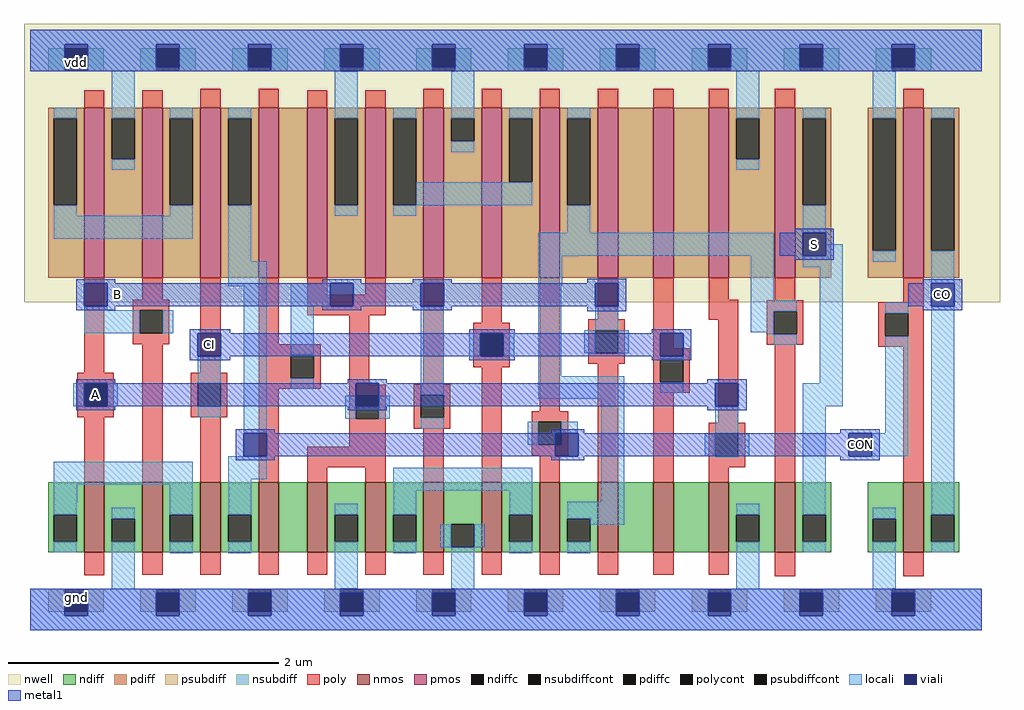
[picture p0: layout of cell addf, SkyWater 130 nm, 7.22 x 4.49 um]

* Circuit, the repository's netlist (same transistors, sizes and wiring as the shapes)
* NGSPICE file created from addf.ext - technology: sky130A

.subckt addf A S CO
X0 a_952_521# CI a_870_521# vdd sky130_fd_pr__pfet_01v8 ad=0.164 pd=1.52 as=0.164 ps=1.52 w=1.26 l=0.15
X1 S a_784_115# vdd vdd sky130_fd_pr__pfet_01v8 ad=0.334 pd=3.05 as=0.214 ps=1.6 w=1.26 l=0.15
X2 a_526_115# CI gnd gnd sky130_fd_pr__nfet_01v8 ad=0.0728 pd=0.8 as=0.0728 ps=0.8 w=0.52 l=0.15
X3 a_27_521# B vdd vdd sky130_fd_pr__pfet_01v8 ad=0.176 pd=1.54 as=0.176 ps=1.54 w=1.26 l=0.15
X4 a_952_115# CI a_870_115# gnd sky130_fd_pr__nfet_01v8 ad=0.0676 pd=0.78 as=0.0676 ps=0.78 w=0.52 l=0.15
X5 S a_784_115# gnd gnd sky130_fd_pr__nfet_01v8 ad=0.138 pd=1.57 as=0.0884 ps=0.86 w=0.52 l=0.15
X6 vdd A a_27_521# vdd sky130_fd_pr__pfet_01v8 ad=0.176 pd=1.54 as=0.334 ps=3.05 w=1.26 l=0.15
X7 a_784_115# CON a_526_521# vdd sky130_fd_pr__pfet_01v8 ad=0.176 pd=1.54 as=0.176 ps=1.54 w=1.26 l=0.15
X8 a_27_115# B gnd gnd sky130_fd_pr__nfet_01v8 ad=0.0728 pd=0.8 as=0.0728 ps=0.8 w=0.52 l=0.15
X9 gnd A a_27_115# gnd sky130_fd_pr__nfet_01v8 ad=0.0728 pd=0.8 as=0.138 ps=1.57 w=0.52 l=0.15
X10 a_784_115# CON a_526_115# gnd sky130_fd_pr__nfet_01v8 ad=0.0728 pd=0.8 as=0.0728 ps=0.8 w=0.52 l=0.15
X11 CON CI a_27_521# vdd sky130_fd_pr__pfet_01v8 ad=0.176 pd=1.54 as=0.176 ps=1.54 w=1.26 l=0.15
X12 vdd A a_368_521# vdd sky130_fd_pr__pfet_01v8 ad=0.176 pd=1.54 as=0.132 ps=1.47 w=1.26 l=0.15
X13 a_526_521# A vdd vdd sky130_fd_pr__pfet_01v8 ad=0.176 pd=1.54 as=0.176 ps=1.54 w=1.26 l=0.15
X14 CO CON vdd vdd sky130_fd_pr__pfet_01v8 ad=0.334 pd=3.05 as=0.334 ps=3.05 w=1.26 l=0.15
X15 CON CI a_27_115# gnd sky130_fd_pr__nfet_01v8 ad=0.0728 pd=0.8 as=0.0728 ps=0.8 w=0.52 l=0.15
X16 a_870_521# B a_784_115# vdd sky130_fd_pr__pfet_01v8 ad=0.164 pd=1.52 as=0.176 ps=1.54 w=1.26 l=0.15
X17 gnd A a_368_115# gnd sky130_fd_pr__nfet_01v8 ad=0.0728 pd=0.8 as=0.0546 ps=0.73 w=0.52 l=0.15
X18 a_526_115# A gnd gnd sky130_fd_pr__nfet_01v8 ad=0.0728 pd=0.8 as=0.0728 ps=0.8 w=0.52 l=0.15
X19 CO CON gnd gnd sky130_fd_pr__nfet_01v8 ad=0.138 pd=1.57 as=0.138 ps=1.57 w=0.52 l=0.15
X20 a_870_115# B a_784_115# gnd sky130_fd_pr__nfet_01v8 ad=0.0676 pd=0.78 as=0.0728 ps=0.8 w=0.52 l=0.15
X21 a_368_521# B CON vdd sky130_fd_pr__pfet_01v8 ad=0.132 pd=1.47 as=0.176 ps=1.54 w=1.26 l=0.15
X22 vdd B a_526_521# vdd sky130_fd_pr__pfet_01v8 ad=0.176 pd=1.54 as=0.176 ps=1.54 w=1.26 l=0.15
X23 vdd A a_952_521# vdd sky130_fd_pr__pfet_01v8 ad=0.214 pd=1.6 as=0.164 ps=1.52 w=1.26 l=0.15
X24 a_368_115# B CON gnd sky130_fd_pr__nfet_01v8 ad=0.0546 pd=0.73 as=0.0728 ps=0.8 w=0.52 l=0.15
X25 gnd B a_526_115# gnd sky130_fd_pr__nfet_01v8 ad=0.0728 pd=0.8 as=0.0728 ps=0.8 w=0.52 l=0.15
X26 gnd A a_952_115# gnd sky130_fd_pr__nfet_01v8 ad=0.0884 pd=0.86 as=0.0676 ps=0.78 w=0.52 l=0.15
X27 a_526_521# CI vdd vdd sky130_fd_pr__pfet_01v8 ad=0.176 pd=1.54 as=0.176 ps=1.54 w=1.26 l=0.15
.ends

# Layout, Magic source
magic
tech sky130A
magscale 1 2
<< nwell >>
rect -9 485 1435 897
<< nmos >>
rect 80 115 110 219
rect 166 115 196 219
rect 252 115 282 219
rect 338 115 368 219
rect 410 115 440 219
rect 496 115 526 219
rect 582 115 612 219
rect 668 115 698 219
rect 754 115 784 219
rect 840 115 870 219
rect 922 115 952 219
rect 1004 115 1034 219
rect 1102 115 1132 219
rect 1292 115 1322 219
<< pmos >>
rect 80 521 110 773
rect 166 521 196 773
rect 252 521 282 773
rect 338 521 368 773
rect 410 521 440 773
rect 496 521 526 773
rect 582 521 612 773
rect 668 521 698 773
rect 754 521 784 773
rect 840 521 870 773
rect 922 521 952 773
rect 1004 521 1034 773
rect 1102 521 1132 773
rect 1292 521 1322 773
<< ndiff >>
rect 27 171 80 219
rect 27 131 35 171
rect 69 131 80 171
rect 27 115 80 131
rect 110 165 166 219
rect 110 131 121 165
rect 155 131 166 165
rect 110 115 166 131
rect 196 171 252 219
rect 196 131 207 171
rect 241 131 252 171
rect 196 115 252 131
rect 282 171 338 219
rect 282 131 293 171
rect 327 131 338 171
rect 282 115 338 131
rect 368 115 410 219
rect 440 171 496 219
rect 440 131 451 171
rect 485 131 496 171
rect 440 115 496 131
rect 526 171 582 219
rect 526 131 537 171
rect 571 131 582 171
rect 526 115 582 131
rect 612 157 668 219
rect 612 123 623 157
rect 657 123 668 157
rect 612 115 668 123
rect 698 171 754 219
rect 698 131 709 171
rect 743 131 754 171
rect 698 115 754 131
rect 784 165 840 219
rect 784 131 795 165
rect 829 131 840 165
rect 784 115 840 131
rect 870 115 922 219
rect 952 115 1004 219
rect 1034 171 1102 219
rect 1034 131 1045 171
rect 1079 131 1102 171
rect 1034 115 1102 131
rect 1132 171 1185 219
rect 1132 131 1143 171
rect 1177 131 1185 171
rect 1132 115 1185 131
rect 1239 165 1292 219
rect 1239 131 1247 165
rect 1281 131 1292 165
rect 1239 115 1292 131
rect 1322 171 1375 219
rect 1322 131 1333 171
rect 1367 131 1375 171
rect 1322 115 1375 131
<< pdiff >>
rect 27 757 80 773
rect 27 629 35 757
rect 69 629 80 757
rect 27 521 80 629
rect 110 757 166 773
rect 110 697 121 757
rect 155 697 166 757
rect 110 521 166 697
rect 196 757 252 773
rect 196 629 207 757
rect 241 629 252 757
rect 196 521 252 629
rect 282 757 338 773
rect 282 629 293 757
rect 327 629 338 757
rect 282 521 338 629
rect 368 521 410 773
rect 440 757 496 773
rect 440 629 451 757
rect 485 629 496 757
rect 440 521 496 629
rect 526 757 582 773
rect 526 629 537 757
rect 571 629 582 757
rect 526 521 582 629
rect 612 757 668 773
rect 612 723 623 757
rect 657 723 668 757
rect 612 521 668 723
rect 698 757 754 773
rect 698 663 709 757
rect 743 663 754 757
rect 698 521 754 663
rect 784 757 840 773
rect 784 629 795 757
rect 829 629 840 757
rect 784 521 840 629
rect 870 521 922 773
rect 952 521 1004 773
rect 1034 757 1102 773
rect 1034 697 1045 757
rect 1079 697 1102 757
rect 1034 521 1102 697
rect 1132 757 1185 773
rect 1132 629 1143 757
rect 1177 629 1185 757
rect 1132 521 1185 629
rect 1239 757 1292 773
rect 1239 561 1247 757
rect 1281 561 1292 757
rect 1239 521 1292 561
rect 1322 757 1375 773
rect 1322 561 1333 757
rect 1367 561 1375 757
rect 1322 521 1375 561
<< ndiffc >>
rect 35 131 69 171
rect 121 131 155 165
rect 207 131 241 171
rect 293 131 327 171
rect 451 131 485 171
rect 537 131 571 171
rect 623 123 657 157
rect 709 131 743 171
rect 795 131 829 165
rect 1045 131 1079 171
rect 1143 131 1177 171
rect 1247 131 1281 165
rect 1333 131 1367 171
<< pdiffc >>
rect 35 629 69 757
rect 121 697 155 757
rect 207 629 241 757
rect 293 629 327 757
rect 451 629 485 757
rect 537 629 571 757
rect 623 723 657 757
rect 709 663 743 757
rect 795 629 829 757
rect 1045 697 1079 757
rect 1143 629 1177 757
rect 1247 561 1281 757
rect 1333 561 1367 757
<< psubdiff >>
rect 27 27 51 61
rect 85 27 109 61
rect 163 27 187 61
rect 221 27 245 61
rect 299 27 323 61
rect 357 27 381 61
rect 435 27 459 61
rect 493 27 517 61
rect 571 27 595 61
rect 629 27 653 61
rect 707 27 731 61
rect 765 27 789 61
rect 843 27 867 61
rect 901 27 925 61
rect 979 27 1003 61
rect 1037 27 1061 61
rect 1115 27 1139 61
rect 1173 27 1197 61
rect 1251 27 1275 61
rect 1309 27 1333 61
<< nsubdiff >>
rect 27 827 51 861
rect 85 827 109 861
rect 163 827 187 861
rect 221 827 245 861
rect 299 827 323 861
rect 357 827 381 861
rect 435 827 459 861
rect 493 827 517 861
rect 571 827 595 861
rect 629 827 653 861
rect 707 827 731 861
rect 765 827 789 861
rect 843 827 867 861
rect 901 827 925 861
rect 979 827 1003 861
rect 1037 827 1061 861
rect 1115 827 1139 861
rect 1173 827 1197 861
rect 1251 827 1275 861
rect 1309 827 1333 861
<< psubdiffcont >>
rect 51 27 85 61
rect 187 27 221 61
rect 323 27 357 61
rect 459 27 493 61
rect 595 27 629 61
rect 731 27 765 61
rect 867 27 901 61
rect 1003 27 1037 61
rect 1139 27 1173 61
rect 1275 27 1309 61
<< nsubdiffcont >>
rect 51 827 85 861
rect 187 827 221 861
rect 323 827 357 861
rect 459 827 493 861
rect 595 827 629 861
rect 731 827 765 861
rect 867 827 901 861
rect 1003 827 1037 861
rect 1139 827 1173 861
rect 1275 827 1309 861
<< poly >>
rect 80 773 110 799
rect 166 773 196 799
rect 252 773 282 801
rect 338 773 368 801
rect 410 773 440 799
rect 496 773 526 799
rect 582 773 612 801
rect 668 773 698 801
rect 754 773 784 801
rect 840 773 870 801
rect 922 773 952 801
rect 1004 773 1034 801
rect 1102 773 1132 801
rect 1292 773 1322 801
rect 80 381 110 521
rect 166 489 196 521
rect 152 473 206 489
rect 152 439 162 473
rect 196 439 206 473
rect 152 423 206 439
rect 70 365 124 381
rect 70 331 80 365
rect 114 331 124 365
rect 70 315 124 331
rect 80 219 110 315
rect 166 219 196 423
rect 252 381 282 521
rect 338 423 368 521
rect 410 496 440 521
rect 496 496 526 521
rect 410 466 526 496
rect 338 407 430 423
rect 238 365 292 381
rect 238 331 248 365
rect 282 331 292 365
rect 238 315 292 331
rect 338 373 386 407
rect 420 373 430 407
rect 338 357 430 373
rect 472 363 502 466
rect 582 364 612 521
rect 668 455 698 521
rect 656 439 710 455
rect 656 405 666 439
rect 700 405 710 439
rect 656 389 710 405
rect 252 219 282 315
rect 338 219 368 357
rect 472 347 526 363
rect 472 313 482 347
rect 516 313 526 347
rect 472 271 526 313
rect 568 348 622 364
rect 568 314 578 348
rect 612 314 622 348
rect 568 298 622 314
rect 410 241 526 271
rect 410 219 440 241
rect 496 219 526 241
rect 582 219 612 298
rect 668 219 698 389
rect 754 324 784 521
rect 840 460 870 521
rect 826 444 880 460
rect 826 410 836 444
rect 870 410 880 444
rect 826 394 880 410
rect 922 417 952 521
rect 1004 489 1034 521
rect 1004 459 1048 489
rect 1102 488 1132 521
rect 922 401 976 417
rect 742 308 796 324
rect 742 274 752 308
rect 786 274 796 308
rect 742 258 796 274
rect 754 219 784 258
rect 840 219 870 394
rect 922 367 932 401
rect 966 367 976 401
rect 922 351 976 367
rect 922 219 952 351
rect 1018 307 1048 459
rect 1090 472 1144 488
rect 1292 485 1322 521
rect 1090 438 1100 472
rect 1134 438 1144 472
rect 1090 422 1144 438
rect 1255 469 1322 485
rect 1255 435 1265 469
rect 1299 435 1322 469
rect 1004 291 1058 307
rect 1004 257 1014 291
rect 1048 257 1058 291
rect 1004 241 1058 257
rect 1004 219 1034 241
rect 1102 219 1132 422
rect 1255 419 1322 435
rect 1292 219 1322 419
rect 80 81 110 115
rect 166 82 196 115
rect 252 82 282 115
rect 338 82 368 115
rect 410 82 440 115
rect 496 82 526 115
rect 582 82 612 115
rect 668 82 698 115
rect 754 82 784 115
rect 840 82 870 115
rect 922 82 952 115
rect 1004 82 1034 115
rect 1102 80 1132 115
rect 1292 80 1322 115
<< polycont >>
rect 162 439 196 473
rect 80 331 114 365
rect 248 331 282 365
rect 386 373 420 407
rect 666 405 700 439
rect 482 313 516 347
rect 578 314 612 348
rect 836 410 870 444
rect 752 274 786 308
rect 932 367 966 401
rect 1100 438 1134 472
rect 1265 435 1299 469
rect 1014 257 1048 291
<< locali >>
rect 0 867 1408 888
rect 0 827 51 867
rect 85 827 187 867
rect 221 827 323 867
rect 357 827 459 867
rect 493 827 595 867
rect 629 827 731 867
rect 765 827 867 867
rect 901 827 1003 867
rect 1037 827 1139 867
rect 1173 827 1275 867
rect 1309 827 1408 867
rect 35 757 69 773
rect 121 757 155 827
rect 121 681 155 697
rect 207 757 241 773
rect 35 613 69 629
rect 207 613 241 629
rect 35 579 241 613
rect 293 757 327 773
rect 293 546 327 629
rect 451 757 485 827
rect 451 613 485 629
rect 537 757 571 773
rect 623 757 657 827
rect 623 707 657 723
rect 709 757 743 773
rect 571 629 743 663
rect 795 757 829 773
rect 1045 757 1079 827
rect 1045 681 1079 697
rect 1143 757 1177 773
rect 537 613 571 629
rect 795 588 829 629
rect 1143 588 1177 629
rect 752 554 1100 588
rect 752 553 812 554
rect 293 509 350 546
rect 80 473 114 479
rect 80 439 162 473
rect 196 439 212 473
rect 248 365 282 405
rect 64 331 80 365
rect 114 331 130 365
rect 248 315 282 331
rect 316 291 350 509
rect 386 479 444 513
rect 386 407 420 479
rect 386 357 420 373
rect 578 348 612 479
rect 752 510 787 553
rect 650 405 666 439
rect 700 405 716 439
rect 466 313 482 347
rect 516 313 532 347
rect 752 376 786 510
rect 836 444 870 479
rect 1066 488 1100 554
rect 1247 757 1281 827
rect 1177 554 1202 571
rect 1143 537 1202 554
rect 1247 545 1281 561
rect 1333 757 1367 773
rect 1066 472 1134 488
rect 820 410 836 444
rect 870 410 886 444
rect 1066 441 1100 472
rect 1089 438 1100 441
rect 1100 422 1134 438
rect 932 401 966 405
rect 752 342 879 376
rect 932 351 966 367
rect 1168 365 1202 537
rect 1333 513 1367 561
rect 578 298 612 314
rect 736 274 752 308
rect 786 291 810 308
rect 35 215 241 249
rect 35 189 70 215
rect 35 171 69 189
rect 35 115 69 131
rect 121 165 155 181
rect 121 61 155 131
rect 207 171 241 215
rect 207 114 241 131
rect 293 223 350 257
rect 293 171 327 223
rect 537 206 743 240
rect 293 114 327 131
rect 451 171 485 187
rect 451 61 485 131
rect 537 171 571 206
rect 709 171 743 206
rect 845 190 879 342
rect 1014 291 1048 331
rect 1143 331 1202 365
rect 1265 469 1299 485
rect 998 257 1014 291
rect 1048 257 1064 291
rect 1014 256 1048 257
rect 537 114 571 131
rect 607 123 623 157
rect 657 123 673 157
rect 623 61 657 123
rect 709 114 743 131
rect 795 165 879 190
rect 829 156 879 165
rect 1045 171 1079 187
rect 795 114 829 131
rect 1045 61 1079 131
rect 1143 171 1177 331
rect 1265 291 1299 435
rect 1245 257 1299 291
rect 1143 115 1177 131
rect 1247 165 1281 181
rect 1247 61 1281 131
rect 1333 171 1367 479
rect 1333 115 1367 131
rect 0 21 51 61
rect 85 21 187 61
rect 221 21 323 61
rect 357 21 459 61
rect 493 21 595 61
rect 629 21 731 61
rect 765 21 867 61
rect 901 21 1003 61
rect 1037 21 1139 61
rect 1173 21 1275 61
rect 1309 21 1408 61
rect 0 0 1408 21
<< viali >>
rect 51 861 85 867
rect 51 833 85 861
rect 187 861 221 867
rect 187 833 221 861
rect 323 861 357 867
rect 323 833 357 861
rect 459 861 493 867
rect 459 833 493 861
rect 595 861 629 867
rect 595 833 629 861
rect 731 861 765 867
rect 731 833 765 861
rect 867 861 901 867
rect 867 833 901 861
rect 1003 861 1037 867
rect 1003 833 1037 861
rect 1139 861 1173 867
rect 1139 833 1173 861
rect 1275 861 1309 867
rect 1275 833 1309 861
rect 80 479 114 513
rect 248 405 282 439
rect 80 331 114 365
rect 444 479 478 513
rect 578 479 612 513
rect 482 347 516 365
rect 666 405 700 439
rect 482 331 516 347
rect 836 479 870 513
rect 1143 554 1177 588
rect 932 405 966 439
rect 316 257 350 291
rect 777 274 786 291
rect 786 274 811 291
rect 777 257 811 274
rect 1014 331 1048 365
rect 1211 257 1245 291
rect 1333 479 1367 513
rect 51 27 85 55
rect 51 21 85 27
rect 187 27 221 55
rect 187 21 221 27
rect 323 27 357 55
rect 323 21 357 27
rect 459 27 493 55
rect 459 21 493 27
rect 595 27 629 55
rect 595 21 629 27
rect 731 27 765 55
rect 731 21 765 27
rect 867 27 901 55
rect 867 21 901 27
rect 1003 27 1037 55
rect 1003 21 1037 27
rect 1139 27 1173 55
rect 1139 21 1173 27
rect 1275 27 1309 55
rect 1275 21 1309 27
<< metal1 >>
rect 0 867 1408 888
rect 0 833 51 867
rect 85 833 187 867
rect 221 833 323 867
rect 357 833 459 867
rect 493 833 595 867
rect 629 833 731 867
rect 765 833 867 867
rect 901 833 1003 867
rect 1037 833 1139 867
rect 1173 833 1275 867
rect 1309 833 1408 867
rect 0 827 1408 833
rect 1131 588 1189 594
rect 1109 554 1143 588
rect 1177 554 1189 588
rect 1131 548 1189 554
rect 68 513 126 519
rect 432 513 490 519
rect 566 513 624 519
rect 824 513 882 520
rect 1321 513 1379 519
rect 68 479 80 513
rect 114 479 444 513
rect 478 479 578 513
rect 612 479 836 513
rect 870 479 882 513
rect 1299 479 1333 513
rect 1367 479 1379 513
rect 68 473 126 479
rect 432 473 490 479
rect 566 473 624 479
rect 824 472 882 479
rect 1321 473 1379 479
rect 236 439 296 445
rect 650 439 717 445
rect 920 439 978 445
rect 236 405 248 439
rect 282 405 666 439
rect 700 405 932 439
rect 966 405 978 439
rect 236 399 296 405
rect 650 399 717 405
rect 920 399 978 405
rect 68 365 126 371
rect 470 365 528 371
rect 1002 365 1060 371
rect 68 331 80 365
rect 114 331 482 365
rect 516 331 1014 365
rect 1048 331 1060 365
rect 68 325 126 331
rect 470 325 528 331
rect 1002 325 1060 331
rect 304 291 362 297
rect 771 291 820 297
rect 1199 291 1257 297
rect 304 257 316 291
rect 350 257 777 291
rect 811 257 1211 291
rect 1245 257 1257 291
rect 304 251 362 257
rect 771 251 820 257
rect 1199 251 1257 257
rect 0 55 1408 61
rect 0 21 51 55
rect 85 21 187 55
rect 221 21 323 55
rect 357 21 459 55
rect 493 21 595 55
rect 629 21 731 55
rect 765 21 867 55
rect 901 21 1003 55
rect 1037 21 1139 55
rect 1173 21 1275 55
rect 1309 21 1408 55
rect 0 0 1408 21
<< labels >>
rlabel viali 1160 571 1160 571 1 S
port 5 n
rlabel viali 1350 496 1350 496 1 CO
port 6 n
rlabel metal1 129 496 129 496 1 B
rlabel viali 265 422 265 422 1 CI
rlabel viali 97 348 97 348 1 A
port 1 n
rlabel viali 1228 274 1228 274 1 CON
rlabel viali 68 48 68 48 1 gnd
rlabel viali 68 840 68 840 1 vdd
<< end >>
